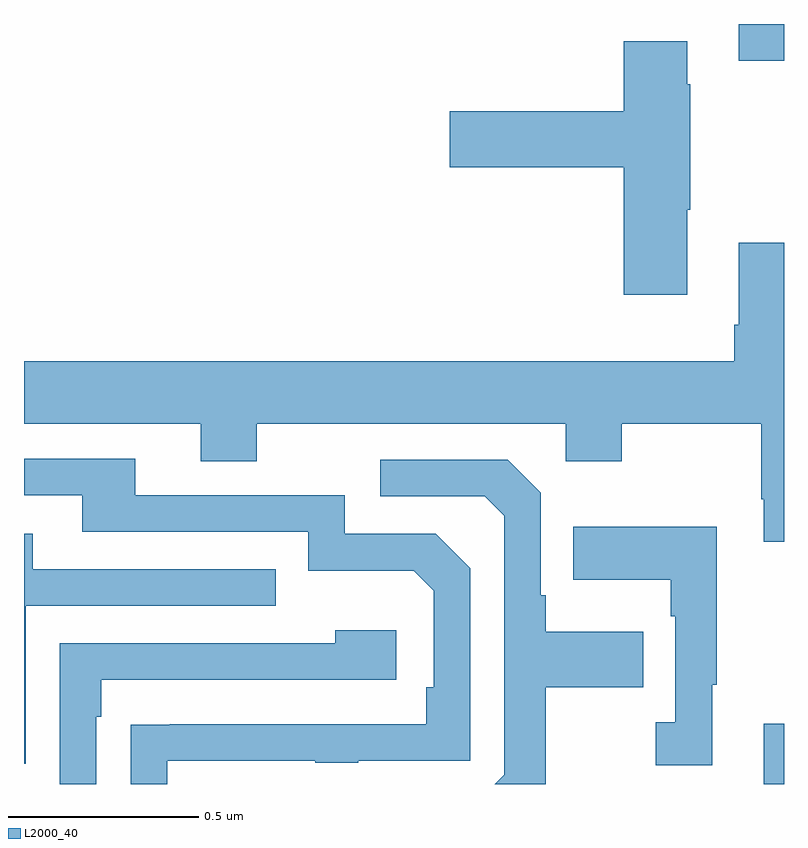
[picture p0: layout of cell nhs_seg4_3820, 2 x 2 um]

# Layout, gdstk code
import gdstk
lib = gdstk.Library(unit=1e-6, precision=1e-09)
def R(c, l, rs):  # rectangles x0, y0, x1, y1
    for r in rs: c.add(gdstk.rectangle(r[:2], r[2:], *l))
def P(c, l, *ps):  # polygons
    for p in ps: c.add(gdstk.Polygon(p, *l))
L2000_40 = (2000, 40)

nhs_seg4_3820 = lib.new_cell('nhs_seg4_3820')
R(nhs_seg4_3820, L2000_40, [(159.947,767.9,160,768.058), (159.881,769.803,160,769.9)])
P(nhs_seg4_3820, L2000_40, [(159.745,769.411),(159.753,769.411),(159.753,769.742),(159.745,769.742),(159.745,769.855),(159.578,769.855),(159.578,769.67),(159.12,769.67),(159.12,769.523),(159.578,769.523),(159.578,769.188),(159.745,769.188)],
  [(160,769.324),(159.881,769.324),(159.881,769.108),(159.869,769.108),(159.869,769.012),(158,769.012),(158,768.848),(158.465,768.848),(158.465,768.749),(158.613,768.749),(158.613,768.848),(159.426,768.848),(159.426,768.749),(159.573,768.749),(159.573,768.848),(159.94,768.848),(159.94,768.649),(159.947,768.649),(159.947,768.537),(160,768.537)],
  [(158.377,767.961),(158.767,767.961),(158.767,767.956),(158.879,767.956),(158.879,767.961),(159.174,767.961),(159.174,768.468),(159.084,768.558),(158.844,768.558),(158.844,768.66),(158.293,768.66),(158.293,768.756),(158,768.756),(158,768.66),(158.153,768.66),(158.153,768.564),(158.748,768.564),(158.748,768.461),(159.025,768.461),(159.078,768.408),(159.078,768.154),(159.058,768.154),(159.058,768.057),(158.383,768.057),(158.383,768.056),(158.281,768.056),(158.281,767.9),(158.377,767.9)],
  [(159.373,768.154),(159.629,768.154),(159.629,768.301),(159.373,768.301),(159.373,768.397),(159.36,768.397),(159.36,768.666),(159.273,768.753),(158.937,768.753),(158.937,768.657),(159.213,768.657),(159.264,768.606),(159.264,767.925),(159.239,767.9),(159.373,767.9)],
  [(159.811,768.161),(159.823,768.161),(159.823,768.577),(159.445,768.577),(159.445,768.437),(159.702,768.437),(159.702,768.341),(159.714,768.341),(159.714,768.062),(159.663,768.062),(159.663,767.949),(159.811,767.949)],
  [(158.004,768.369),(158.663,768.369),(158.663,768.465),(158.023,768.465),(158.023,768.559),(158,768.559),(158,767.953),(158.004,767.953)],
  [(158.19,768.077),(158.203,768.077),(158.203,768.174),(158.98,768.174),(158.98,768.304),(158.819,768.304),(158.819,768.27),(158.094,768.27),(158.094,767.9),(158.19,767.9)])

lib.write_gds('nhs_seg4_3820.gds')
